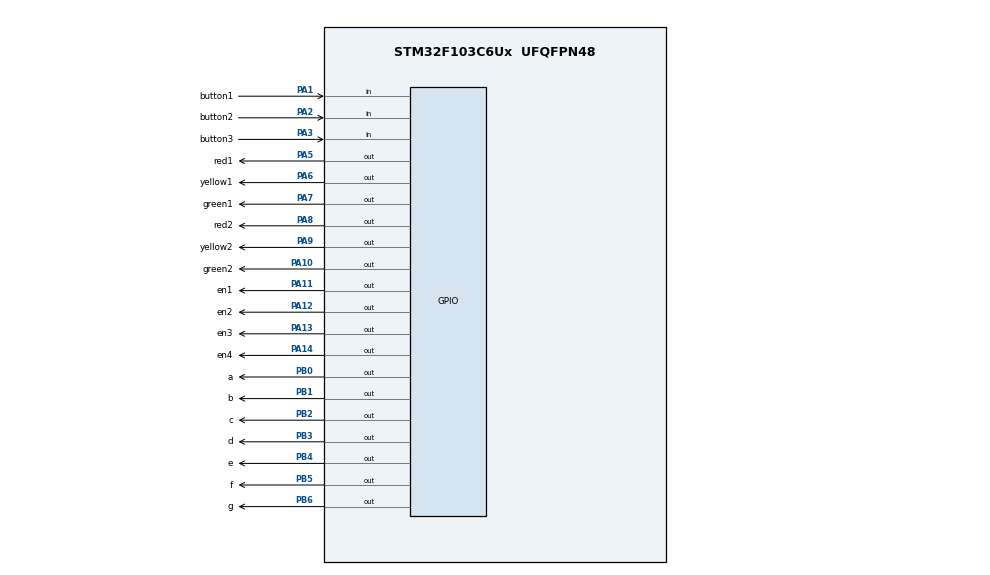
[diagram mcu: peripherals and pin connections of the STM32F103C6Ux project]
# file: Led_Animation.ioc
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Mcu.Family=STM32F1
Mcu.Name=STM32F103C6Ux
Mcu.Package=UFQFPN48
NVIC.PriorityGroup=NVIC_PRIORITYGROUP_4
NVIC.TIM2_IRQn=true\:0\:0\:false\:false\:true\:true\:true
PA1.GPIO_Label=button1
PA1.GPIO_PuPd=GPIO_PULLUP
PA1.Signal=GPIO_Input
PA10.GPIO_Label=green2
PA10.Signal=GPIO_Output
PA11.GPIO_Label=en1
PA11.Signal=GPIO_Output
PA12.GPIO_Label=en2
PA12.Signal=GPIO_Output
PA13.GPIO_Label=en3
PA13.Signal=GPIO_Output
PA14.GPIO_Label=en4
PA14.Signal=GPIO_Output
PA2.GPIO_Label=button2
PA2.GPIO_PuPd=GPIO_PULLUP
PA2.Signal=GPIO_Input
PA3.GPIO_Label=button3
PA3.GPIO_PuPd=GPIO_PULLUP
PA3.Signal=GPIO_Input
PA5.GPIO_Label=red1
PA5.Signal=GPIO_Output
PA6.GPIO_Label=yellow1
PA6.Signal=GPIO_Output
PA7.GPIO_Label=green1
PA7.Signal=GPIO_Output
PA8.GPIO_Label=red2
PA8.Signal=GPIO_Output
PA9.GPIO_Label=yellow2
PA9.Signal=GPIO_Output
PB0.GPIO_Label=a
PB0.Signal=GPIO_Output
PB1.GPIO_Label=b
PB1.Signal=GPIO_Output
PB2.GPIO_Label=c
PB2.Signal=GPIO_Output
PB3.GPIO_Label=d
PB3.Signal=GPIO_Output
PB4.GPIO_Label=e
PB4.Signal=GPIO_Output
PB5.GPIO_Label=f
PB5.Signal=GPIO_Output
PB6.GPIO_Label=g
PB6.Signal=GPIO_Output
ProjectManager.HeapSize=0x200
ProjectManager.StackSize=0x400
ProjectManager.TargetToolchain=STM32CubeIDE
RCC.APB1Freq_Value=8000000
RCC.APB2Freq_Value=8000000
TIM2.Period=9
TIM2.Prescaler=7999
VP_SYS_VS_ND.Mode=No_Debug
VP_TIM2_VS_ClockSourceINT.Mode=Internal
board=custom

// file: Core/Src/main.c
/* USER CODE BEGIN Header */
/**
  ******************************************************************************
  * @file           : main.c
  * @brief          : Main program body
  ******************************************************************************
  * @attention
  *
  * <h2><center>&copy; Copyright (c) 2022 STMicroelectronics.
  * All rights reserved.</center></h2>
  *
  * This software component is licensed by ST under BSD 3-Clause license,
  * the "License"; You may not use this file except in compliance with the
  * License. You may obtain a copy of the License at:
  *                        opensource.org/licenses/BSD-3-Clause
  *
  ******************************************************************************
  */
/* USER CODE END Header */
#include "main.h"

/* USER CODE BEGIN Includes */
#include "software_timer.h"
#include "button.h"
#include "fsm_automatic.h"
#include "fsm_manual.h"
/* USER CODE END Includes */

TIM_HandleTypeDef htim2;

void SystemClock_Config(void);
static void MX_GPIO_Init(void);
static void MX_TIM2_Init(void);

int main(void)
{

  /* MCU Configuration--------------------------------------------------------*/

  /* Reset of all peripherals, Initializes the Flash interface and the Systick. */
  HAL_Init();

  /* Configure the system clock */
  SystemClock_Config();

  /* Initialize all configured peripherals */
  MX_GPIO_Init();
  MX_TIM2_Init();
  /* USER CODE BEGIN 2 */
  HAL_TIM_Base_Start_IT(&htim2);
  setTimer1(1000);
  setTimer2(1000);
  setTimer3(1000);
  setTimer4(10);
  setTimer5(1000);
  status = MODE1;
  /* USER CODE END 2 */

  /* Infinite loop */
  while (1)
  {

    /* USER CODE BEGIN 3 */
	  /*if(isButton1Pressed()){
		  HAL_GPIO_TogglePin(led_GPIO_Port, led_Pin);
	  }*/
	  fsm_automatic_run();
	  fsm_manual_run();
  }
  /* USER CODE END 3 */
}

void SystemClock_Config(void)
{
  RCC_OscInitTypeDef RCC_OscInitStruct = {0};
  RCC_ClkInitTypeDef RCC_ClkInitStruct = {0};

  /** Initializes the RCC Oscillators according to the specified parameters
  * in the RCC_OscInitTypeDef structure.
  */
  RCC_OscInitStruct.OscillatorType = RCC_OSCILLATORTYPE_HSI;
  RCC_OscInitStruct.HSIState = RCC_HSI_ON;
  RCC_OscInitStruct.HSICalibrationValue = RCC_HSICALIBRATION_DEFAULT;
  RCC_OscInitStruct.PLL.PLLState = RCC_PLL_NONE;
  if (HAL_RCC_OscConfig(&RCC_OscInitStruct) != HAL_OK)
  {
    Error_Handler();
  }
  /** Initializes the CPU, AHB and APB buses clocks
  */
  RCC_ClkInitStruct.ClockType = RCC_CLOCKTYPE_HCLK|RCC_CLOCKTYPE_SYSCLK
                              |RCC_CLOCKTYPE_PCLK1|RCC_CLOCKTYPE_PCLK2;
  RCC_ClkInitStruct.SYSCLKSource = RCC_SYSCLKSOURCE_HSI;
  RCC_ClkInitStruct.AHBCLKDivider = RCC_SYSCLK_DIV1;
  RCC_ClkInitStruct.APB1CLKDivider = RCC_HCLK_DIV1;
  RCC_ClkInitStruct.APB2CLKDivider = RCC_HCLK_DIV1;

  if (HAL_RCC_ClockConfig(&RCC_ClkInitStruct, FLASH_LATENCY_0) != HAL_OK)
  {
    Error_Handler();
  }
}

static void MX_TIM2_Init(void)
{

  TIM_ClockConfigTypeDef sClockSourceConfig = {0};
  TIM_MasterConfigTypeDef sMasterConfig = {0};

  htim2.Instance = TIM2;
  htim2.Init.Prescaler = 7999;
  htim2.Init.CounterMode = TIM_COUNTERMODE_UP;
  htim2.Init.Period = 9;
  htim2.Init.ClockDivision = TIM_CLOCKDIVISION_DIV1;
  htim2.Init.AutoReloadPreload = TIM_AUTORELOAD_PRELOAD_DISABLE;
  if (HAL_TIM_Base_Init(&htim2) != HAL_OK)
  {
    Error_Handler();
  }
  sClockSourceConfig.ClockSource = TIM_CLOCKSOURCE_INTERNAL;
  if (HAL_TIM_ConfigClockSource(&htim2, &sClockSourceConfig) != HAL_OK)
  {
    Error_Handler();
  }
  sMasterConfig.MasterOutputTrigger = TIM_TRGO_RESET;
  sMasterConfig.MasterSlaveMode = TIM_MASTERSLAVEMODE_DISABLE;
  if (HAL_TIMEx_MasterConfigSynchronization(&htim2, &sMasterConfig) != HAL_OK)
  {
    Error_Handler();
  }

}

static void MX_GPIO_Init(void)
{
  GPIO_InitTypeDef GPIO_InitStruct = {0};

  /* GPIO Ports Clock Enable */
  __HAL_RCC_GPIOA_CLK_ENABLE();
  __HAL_RCC_GPIOB_CLK_ENABLE();

  /*Configure GPIO pin Output Level */
  HAL_GPIO_WritePin(GPIOA, red1_Pin|yellow1_Pin|green1_Pin|red2_Pin
                          |yellow2_Pin|green2_Pin|en1_Pin|en2_Pin
                          |en3_Pin|en4_Pin, GPIO_PIN_RESET);

  /*Configure GPIO pin Output Level */
  HAL_GPIO_WritePin(GPIOB, a_Pin|b_Pin|c_Pin|d_Pin
                          |e_Pin|f_Pin|g_Pin, GPIO_PIN_RESET);

  /*Configure GPIO pins : button1_Pin button2_Pin button3_Pin */
  GPIO_InitStruct.Pin = button1_Pin|button2_Pin|button3_Pin;
  GPIO_InitStruct.Mode = GPIO_MODE_INPUT;
  GPIO_InitStruct.Pull = GPIO_PULLUP;
  HAL_GPIO_Init(GPIOA, &GPIO_InitStruct);

  /*Configure GPIO pins : red1_Pin yellow1_Pin green1_Pin red2_Pin
                           yellow2_Pin green2_Pin en1_Pin en2_Pin
                           en3_Pin en4_Pin */
  GPIO_InitStruct.Pin = red1_Pin|yellow1_Pin|green1_Pin|red2_Pin
                          |yellow2_Pin|green2_Pin|en1_Pin|en2_Pin
                          |en3_Pin|en4_Pin;
  GPIO_InitStruct.Mode = GPIO_MODE_OUTPUT_PP;
  GPIO_InitStruct.Pull = GPIO_NOPULL;
  GPIO_InitStruct.Speed = GPIO_SPEED_FREQ_LOW;
  HAL_GPIO_Init(GPIOA, &GPIO_InitStruct);

  /*Configure GPIO pins : a_Pin b_Pin c_Pin d_Pin
                           e_Pin f_Pin g_Pin */
  GPIO_InitStruct.Pin = a_Pin|b_Pin|c_Pin|d_Pin
                          |e_Pin|f_Pin|g_Pin;
  GPIO_InitStruct.Mode = GPIO_MODE_OUTPUT_PP;
  GPIO_InitStruct.Pull = GPIO_NOPULL;
  GPIO_InitStruct.Speed = GPIO_SPEED_FREQ_LOW;
  HAL_GPIO_Init(GPIOB, &GPIO_InitStruct);

}

/* USER CODE BEGIN 4 */
void HAL_TIM_PeriodElapsedCallback(TIM_HandleTypeDef *htim){
	timerRun();
	getKeyInput1();
	getKeyInput2();
	getKeyInput3();
}
/* USER CODE END 4 */

void Error_Handler(void)
{
  __disable_irq();
  while (1)
  {
  }
}

/************************ (C) COPYRIGHT STMicroelectronics *****END OF FILE****/
